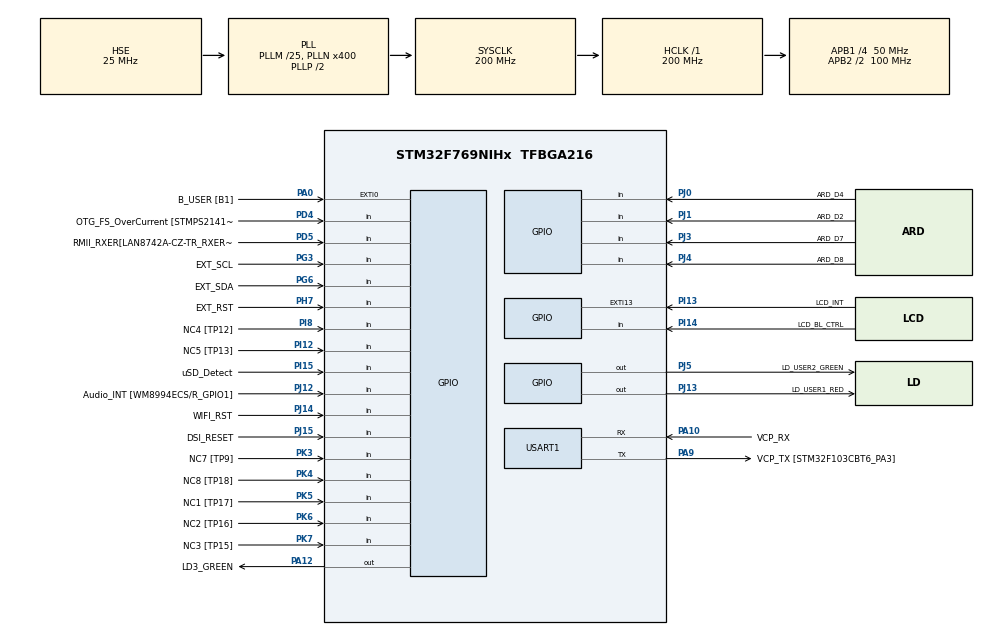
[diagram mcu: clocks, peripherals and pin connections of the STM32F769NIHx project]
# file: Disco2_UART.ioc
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DSIHOST_CKN.GPIO_Label=DSI_CK_N
DSIHOST_CKN.Signal=DSIHOST_CKN
DSIHOST_CKP.GPIO_Label=DSI_CK_P
DSIHOST_CKP.Signal=DSIHOST_CKP
DSIHOST_D0N.GPIO_Label=DSI_D0_N
DSIHOST_D0N.Signal=DSIHOST_D0N
DSIHOST_D0P.GPIO_Label=DSI_D0_p
DSIHOST_D0P.Signal=DSIHOST_D0P
DSIHOST_D1N.GPIO_Label=DSI_D1_N
DSIHOST_D1N.Signal=DSIHOST_D1N
DSIHOST_D1P.GPIO_Label=DSI_D1_P
DSIHOST_D1P.Signal=DSIHOST_D1P
Mcu.Family=STM32F7
Mcu.Name=STM32F769NIHx
Mcu.Package=TFBGA216
NVIC.PriorityGroup=NVIC_PRIORITYGROUP_4
PA0/WKUP.GPIO_Label=B_USER [B1]
PA0/WKUP.Signal=GPXTI0
PA1.GPIO_Label=RMII_REF_CLK [LAN8742A-CZ-TR_REFCLK0]
PA1.Signal=ETH_REF_CLK
PA10.GPIO_Label=VCP_RX 
PA10.GPIO_PuPd=GPIO_NOPULL
PA10.Mode=Asynchronous
PA10.Signal=USART1_RX
PA11.GPIO_Label=SPI2_NSS
PA11.Signal=SPI2_NSS
PA12.GPIO_Label=LD3_GREEN
PA12.Signal=GPIO_Output
PA13.GPIO_Label=SWDIO
PA13.Signal=SYS_JTMS-SWDIO
PA14.GPIO_Label=SWCLK
PA14.Signal=SYS_JTCK-SWCLK
PA15.GPIO_Label=CEC
PA15.Signal=CEC
PA2.GPIO_Label=RMII_MDIO [LAN8742A-CZ-TR_MDIO]
PA2.Signal=ETH_MDIO
PA3.GPIO_Label=ULPI_D0 [USB3320C-EZK_D0]
PA3.Signal=USB_OTG_HS_ULPI_D0
PA4.GPIO_Label=ARD_A1
PA4.Signal=ADCx_IN4
PA5.GPIO_Label=ULPI_CLK [USB3320C-EZK_CLKOUT]
PA5.Signal=USB_OTG_HS_ULPI_CK
PA6.GPIO_Label=ARD_A0
PA6.Signal=ADCx_IN6
PA7.GPIO_Label=RMII_CRS_DV [LAN8742A-CZ-TR_CRS_DV]
PA7.Signal=ETH_CRS_DV
PA8.GPIO_Label=CEC_CLK [TP2]
PA8.Signal=RCC_MCO_1
PA9.GPIO_Label=VCP_TX [STM32F103CBT6_PA3]
PA9.GPIO_Mode=GPIO_MODE_AF_PP
PA9.GPIO_PuPd=GPIO_NOPULL
PA9.GPIO_Speed=GPIO_SPEED_FREQ_LOW
PA9.Mode=Asynchronous
PA9.Signal=USART1_TX
PB0.GPIO_Label=ULPI_D1 [USB3320C-EZK_D1]
PB0.Signal=USB_OTG_HS_ULPI_D1
PB1.GPIO_Label=ULPI_D2 [USB3320C-EZK_D2]
PB1.Signal=USB_OTG_HS_ULPI_D2
PB10.GPIO_Label=ULPI_D3 [USB3320C-EZK_D3]
PB10.Signal=USB_OTG_HS_ULPI_D3
PB11.GPIO_Label=ULPI_D4 [USB3320C-EZK_D4]
PB11.Signal=USB_OTG_HS_ULPI_D4
PB12.GPIO_Label=ULPI_D5 [USB3320C-EZK_D5]
PB12.Signal=USB_OTG_HS_ULPI_D5
PB13.GPIO_Label=ULPI_D6 [USB3320C-EZK_D6]
PB13.Signal=USB_OTG_HS_ULPI_D6
PB14.GPIO_Label=ARDUINO MISO/D12
PB14.GPIO_Mode=GPIO_MODE_AF_PP
PB14.GPIO_PuPd=GPIO_NOPULL
PB14.GPIO_Speed=GPIO_SPEED_FREQ_LOW
PB14.Signal=SPI2_MISO
PB15.GPIO_Label=ARDUINO MOSI/PWM/D11
PB15.GPIO_Mode=GPIO_MODE_AF_PP
PB15.GPIO_PuPd=GPIO_NOPULL
PB15.GPIO_Speed=GPIO_SPEED_FREQ_LOW
PB15.Signal=SPI2_MOSI
PB2.Signal=QUADSPI_CLK
PB3.GPIO_Label=uSD_D2
PB3.Signal=SDMMC2_D2
PB4.GPIO_Label=uSD_D3
PB4.Signal=SDMMC2_D3
PB5.GPIO_Label=ULPI_D7 [USB3320C-EZK_D7]
PB5.Signal=USB_OTG_HS_ULPI_D7
PB6.GPIO_Label=QSPI_NCS [N25Q128A13EF840E_S]
PB6.Signal=QUADSPI_BK1_NCS
PB7.GPIO_Label=AUDIO_SDA [WM8994ECS/R_SDA]
PB7.Signal=I2C4_SDA
PB8.GPIO_Label=ARDUINO SCL/D15
PB8.GPIO_Mode=GPIO_MODE_AF_OD
PB8.GPIO_PuPd=GPIO_NOPULL
PB8.GPIO_Speed=GPIO_SPEED_FREQ_LOW
PB8.Signal=I2C1_SCL
PB9.GPIO_Label=ARDUINO SDA/D14
PB9.GPIO_Mode=GPIO_MODE_AF_OD
PB9.GPIO_PuPd=GPIO_NOPULL
PB9.GPIO_Speed=GPIO_SPEED_FREQ_LOW
PB9.Signal=I2C1_SDA
PC0.GPIO_Label=ULPI_STP [USB3320C-EZK_STP]
PC0.Signal=USB_OTG_HS_ULPI_STP
PC1.GPIO_Label=RMII_MDC [LAN8742A-CZ-TR_MDC]
PC1.Signal=ETH_MDC
PC10.GPIO_Label=QSPI_D1 [MT25QL512ABB1EW9_DQ1]
PC10.Signal=QUADSPI_BK1_IO1
PC11.GPIO_Label=DFSDM_DATIN5 [TP100]
PC11.Signal=S_DATAIN5DFSDM1
PC12.GPIO_Label=WIFI_RX
PC12.Signal=UART5_TX
PC13.Signal=RTC_OUT
PC14/OSC32_IN.GPIO_Label=RCC_OSC32_IN
PC14/OSC32_IN.Signal=RCC_OSC32_IN
PC15/OSC32_OUT.GPIO_Label=RCC_OSC32_OUT
PC15/OSC32_OUT.Signal=RCC_OSC32_OUT
PC2.GPIO_Label=ARD_A2
PC2.Signal=ADCx_IN12
PC3.GPIO_Label=DFSDM_DATIN1 [TP101]
PC3.Signal=S_DATAIN1DFSDM1
PC4.GPIO_Label=RMII_RXD0 [LAN8742A-CZ-TR_RXD0]
PC4.Signal=ETH_RXD0
PC5.GPIO_Label=RMII_RXD1 [LAN8742A-CZ-TR_RXD1]
PC5.Signal=ETH_RXD1
PC6.GPIO_Label=ARDUINO TX/D1
PC6.Signal=USART6_TX
PC7.GPIO_Label=ARD_D0/RX
PC7.Signal=USART6_RX
PC8.GPIO_Label=ARD_D5/PWM
PC8.Signal=S_TIM3_CH3
PC9.GPIO_Label=QSPI_D0 [N25Q128A13EF840E_DQ0]
PC9.Signal=QUADSPI_BK1_IO0
PD0.GPIO_Label=FMC_D2 [MT48LC4M32B2B5-6A_DQ2]
PD0.Signal=FMC_D2_DA2
PD1.GPIO_Label=FMC_D3 [MT48LC4M32B2B5-6A_DQ3]
PD1.Signal=FMC_D3_DA3
PD10.GPIO_Label=FMC_D15 [MT48LC4M32B2B5-6A_DQ15]
PD10.Signal=FMC_D15_DA15
PD11.GPIO_Label=SPDIF_TX [TP20]
PD11.Signal=SAI2_SD_A
PD12.GPIO_Label=AUDIO_SCL [WM8994ECS/R_SCLK]
PD12.Signal=I2C4_SCL
PD13.GPIO_Label=QSPI_D3 [N25Q128A13EF840E_DQ3]
PD13.Signal=QUADSPI_BK1_IO3
PD14.GPIO_Label=FMC_D0 [MT48LC4M32B2B5-6A_DQ0]
PD14.Signal=FMC_D0_DA0
PD15.GPIO_Label=FMC_D1 [MT48LC4M32B2B5-6A_DQ1]
PD15.Signal=FMC_D1_DA1
PD2.GPIO_Label=WIFI_TX
PD2.Signal=UART5_RX
PD3.GPIO_Label=DFSDM_CKOUT [TP102]
PD3.Signal=S_CKOUTDFSDM1
PD4.GPIO_Label=OTG_FS_OverCurrent [STMPS2141STR_Fault]
PD4.Signal=GPIO_Input
PD5.GPIO_Label=RMII_RXER[LAN8742A-CZ-TR_RXERR]
PD5.Signal=GPIO_Input
PD6.GPIO_Label=uSD_CLK
PD6.Signal=SDMMC2_CK
PD7.GPIO_Label=uSD_CMD
PD7.Signal=SDMMC2_CMD
PD8.GPIO_Label=FMC_D13 [MT48LC4M32B2B5-6A_DQ13]
PD8.Signal=FMC_D13_DA13
PD9.GPIO_Label=FMC_D14 [MT48LC4M32B2B5-6A_DQ14]
PD9.Signal=FMC_D14_DA14
PE0.GPIO_Label=FMC_NBL0 [MT48LC4M32B2B5-6A_DQM0]
PE0.Signal=FMC_NBL0
PE1.GPIO_Label=FMC_NBL1 [MT48LC4M32B2B5-6A_DQM1]
PE1.Signal=FMC_NBL1
PE10.GPIO_Label=FMC_D7 [MT48LC4M32B2B5-6A_DQ7]
PE10.Signal=FMC_D7_DA7
PE11.GPIO_Label=FMC_D8 [MT48LC4M32B2B5-6A_DQ8]
PE11.Signal=FMC_D8_DA8
PE12.GPIO_Label=FMC_D9 [MT48LC4M32B2B5-6A_DQ9]
PE12.Signal=FMC_D9_DA9
PE13.GPIO_Label=FMC_D10 [MT48LC4M32B2B5-6A_DQ10]
PE13.Signal=FMC_D10_DA10
PE14.GPIO_Label=FMC_D11 [MT48LC4M32B2B5-6A_DQ11]
PE14.Signal=FMC_D11_DA11
PE15.GPIO_Label=FMC_D12 [MT48LC4M32B2B5-6A_DQ12]
PE15.Signal=FMC_D12_DA12
PE2.GPIO_Label=QSPI_D2 [N25Q128A13EF840E_DQ2]
PE2.Signal=QUADSPI_BK1_IO2
PE3.GPIO_Label=SAI1_SDB [WM8994ECS/R_ADCDAT1]
PE3.Signal=SAI1_SD_B
PE4.GPIO_Label=SAI1_FSA [WM8994ECS/R_LRCLK1]
PE4.Signal=SAI1_FS_A
PE5.GPIO_Label=SAI1_SCKA [WM8994ECS/R_BCLK1]
PE5.Signal=SAI1_SCK_A
PE6.GPIO_Label=SAI1_SDA [WM8994ECS/R_DACDAT1]
PE6.Signal=SAI1_SD_A
PE7.GPIO_Label=FMC_D4 [MT48LC4M32B2B5-6A_DQ4]
PE7.Signal=FMC_D4_DA4
PE8.GPIO_Label=FMC_D5 [MT48LC4M32B2B5-6A_DQ5]
PE8.Signal=FMC_D5_DA5
PE9.GPIO_Label=FMC_D6 [MT48LC4M32B2B5-6A_DQ6]
PE9.Signal=FMC_D6_DA6
PF0.GPIO_Label=FMC_A0 [MT48LC4M32B2B5-6A_A0]
PF0.Signal=FMC_A0
PF1.GPIO_Label=FMC_A1 [MT48LC4M32B2B5-6A_A1]
PF1.Signal=FMC_A1
PF10.GPIO_Label=ARDUINO A1
PF10.GPIO_Mode=GPIO_MODE_ANALOG
PF10.GPIO_PuPd=GPIO_NOPULL
PF10.Signal=ADC3_IN8
PF11.GPIO_Label=FMC_SDNRAS [MT48LC4M32B2B5-6A_RAS]
PF11.Signal=FMC_SDNRAS
PF12.GPIO_Label=FMC_A6 [MT48LC4M32B2B5-6A_A6]
PF12.Signal=FMC_A6
PF13.GPIO_Label=FMC_A7 [MT48LC4M32B2B5-6A_A7]
PF13.Signal=FMC_A7
PF14.GPIO_Label=FMC_A8 [MT48LC4M32B2B5-6A_A8]
PF14.Signal=FMC_A8
PF15.GPIO_Label=FMC_A9 [MT48LC4M32B2B5-6A_A9]
PF15.Signal=FMC_A9
PF2.GPIO_Label=FMC_A2 [MT48LC4M32B2B5-6A_A2]
PF2.Signal=FMC_A2
PF3.GPIO_Label=FMC_A3 [MT48LC4M32B2B5-6A_A3]
PF3.Signal=FMC_A3
PF4.GPIO_Label=FMC_A4 [MT48LC4M32B2B5-6A_A4]
PF4.Signal=FMC_A4
PF5.GPIO_Label=FMC_A5 [MT48LC4M32B2B5-6A_A5]
PF5.Signal=FMC_A5
PF6.GPIO_Label=ARD_D3/PWM
PF6.Signal=S_TIM10_CH1
PF7.GPIO_Label=ARD_D6/PWM
PF7.Signal=S_TIM11_CH1
PF8.GPIO_Label=ARDUINO A3
PF8.GPIO_Mode=GPIO_MODE_ANALOG
PF8.GPIO_PuPd=GPIO_NOPULL
PF8.Signal=ADC3_IN6
PF9.GPIO_Label=ARDUINO A2
PF9.GPIO_Mode=GPIO_MODE_ANALOG
PF9.GPIO_PuPd=GPIO_NOPULL
PF9.Signal=ADC3_IN7
PG0.GPIO_Label=FMC_A10 [MT48LC4M32B2B5-6A_A10]
PG0.Signal=FMC_A10
PG1.GPIO_Label=FMC_A11 [MT48LC4M32B2B5-6A_A11]
PG1.Signal=FMC_A11
PG10.GPIO_Label=uSD_D1
PG10.Signal=SDMMC2_D1
PG11.GPIO_Label=RMII_TX_EN [LAN8742A-CZ-TR_TXEN]
PG11.Signal=ETH_TX_EN
PG12.GPIO_Label=SPDIF_RX [74LVC1G04SE_4]
PG12.Signal=SPDIFRX_IN1
PG13.GPIO_Label=RMII_TXD0 [LAN8742A-CZ-TR_TXD0]
PG13.Signal=ETH_TXD0
PG14.GPIO_Label=RMII_TXD1 [LAN8742A-CZ-TR_TXD1]
PG14.Signal=ETH_TXD1
PG15.GPIO_Label=FMC_SDNCAS [MT48LC4M32B2B5-6A_CAS]
PG15.Signal=FMC_SDNCAS
PG2.GPIO_Label=FMC_A12
PG2.Signal=FMC_A12
PG3.GPIO_Label=EXT_SCL
PG3.Signal=GPIO_Input
PG4.GPIO_Label=FMC_BA0 [MT48LC4M32B2B5-6A_BA0]
PG4.Signal=FMC_A14_BA0
PG5.GPIO_Label=FMC_BA1 [MT48LC4M32B2B5-6A_BA1]
PG5.Signal=FMC_A15_BA1
PG6.GPIO_Label=EXT_SDA
PG6.Signal=GPIO_Input
PG7.GPIO_Label=SAI1_MCLKA [WM8994ECS/R_MCLK1]
PG7.Signal=SAI1_MCLK_A
PG8.GPIO_Label=FMC_SDCLK [MT48LC4M32B2B5-6A_CLK]
PG8.Signal=FMC_SDCLK
PG9.GPIO_Label=uSD_D0
PG9.Signal=SDMMC2_D0
PH0/OSC_IN.GPIO_Label=OSC_25M [NZ2520SB-25.00M_OUT]
PH0/OSC_IN.Mode=HSE-External-Oscillator
PH0/OSC_IN.Signal=RCC_OSC_IN
PH1/OSC_OUT.Mode=HSE-External-Oscillator
PH1/OSC_OUT.Signal=RCC_OSC_OUT
PH10.GPIO_Label=FMC_D18 [MT48LC4M32B2B5-6A_DQ18]
PH10.Signal=FMC_D18
PH11.GPIO_Label=FMC_D19 [MT48LC4M32B2B5-6A_DQ19]
PH11.Signal=FMC_D19
PH12.GPIO_Label=D20
PH12.Signal=FMC_D20
PH13.GPIO_Label=D21
PH13.Signal=FMC_D21
PH14.GPIO_Label=D22
PH14.Signal=FMC_D22
PH15.GPIO_Label=D23
PH15.Signal=FMC_D23
PH2.GPIO_Label=FMC_SDCKE0 [MT48LC4M32B2B5-6A_CKE]
PH2.Signal=FMC_SDCKE0
PH3.GPIO_Label=FMC_SDNE0 [MT48LC4M32B2B5-6A_CS]
PH3.Signal=FMC_SDNE0
PH4.GPIO_Label=ULPI_NXT [USB3320C-EZK_NXT]
PH4.Signal=USB_OTG_HS_ULPI_NXT
PH5.GPIO_Label=FMC_SDNME [MT48LC4M32B2B5-6A_WE]
PH5.Signal=FMC_SDNWE
PH6.GPIO_Label=ARDUINO PWM/D6
PH6.Signal=S_TIM12_CH1
PH7.GPIO_Label=EXT_RST
PH7.Signal=GPIO_Input
PH8.GPIO_Label=FMC_D16 [MT48LC4M32B2B5-6A_DQ16]
PH8.Signal=FMC_D16
PH9.GPIO_Label=FMC_D\!7 [MT48LC4M32B2B5-6A_DQ17]
PH9.Signal=FMC_D17
PI0.GPIO_Label=D24
PI0.Signal=FMC_D24
PI1.GPIO_Label=D25
PI1.Signal=FMC_D25
PI10.GPIO_Label=D31
PI10.Signal=FMC_D31
PI11.GPIO_Label=ULPI_DIR [USB3320C-EZK_DIR]
PI11.Signal=USB_OTG_HS_ULPI_DIR
PI12.GPIO_Label=NC5 [TP13]
PI12.Signal=GPIO_Input
PI13.GPIO_Label=LCD_INT
PI13.GPIO_ModeDefaultEXTI=GPIO_MODE_EVT_RISING
PI13.Signal=GPXTI13
PI14.GPIO_Label=LCD_BL_CTRL
PI14.Signal=GPIO_Input
PI15.GPIO_Label=uSD_Detect
PI15.Signal=GPIO_Input
PI2.GPIO_Label=D26
PI2.Signal=FMC_D26
PI3.GPIO_Label=D27
PI3.Signal=FMC_D27
PI4.GPIO_Label=FMC_NBL2 [MT48LC4M32B2B5-6A_DQM2]
PI4.Signal=FMC_NBL2
PI5.GPIO_Label=FMC_NBL3 [MT48LC4M32B2B5-6A_DQM3]
PI5.Signal=FMC_NBL3
PI6.GPIO_Label=D28
PI6.Signal=FMC_D28
PI7.GPIO_Label=D29
PI7.Signal=FMC_D29
PI8.GPIO_Label=NC4 [TP12]
PI8.Signal=GPIO_Input
PI9.GPIO_Label=D30
PI9.Signal=FMC_D30
PJ0.GPIO_Label=ARD_D4
PJ0.Signal=GPIO_Input
PJ1.GPIO_Label=ARD_D2
PJ1.Signal=GPIO_Input
PJ12.GPIO_Label=Audio_INT [WM8994ECS/R_GPIO1]
PJ12.Signal=GPIO_Input
PJ13.GPIO_Label=LD_USER1_RED
PJ13.Signal=GPIO_Output
PJ14.GPIO_Label=WIFI_RST
PJ14.Signal=GPIO_Input
PJ15.GPIO_Label=DSI_RESET
PJ15.Signal=GPIO_Input
PJ2.GPIO_Label=DSIHOST_TE
PJ2.Signal=DSIHOST_TE
PJ3.GPIO_Label=ARD_D7
PJ3.Signal=GPIO_Input
PJ4.GPIO_Label=ARD_D8
PJ4.Signal=GPIO_Input
PJ5.GPIO_Label=LD_USER2_GREEN
PJ5.Signal=GPIO_Output
PK3.GPIO_Label=NC7 [TP9]
PK3.Signal=GPIO_Input
PK4.GPIO_Label=NC8 [TP18]
PK4.Signal=GPIO_Input
PK5.GPIO_Label=NC1 [TP17]
PK5.Signal=GPIO_Input
PK6.GPIO_Label=NC2 [TP16]
PK6.Signal=GPIO_Input
PK7.GPIO_Label=NC3 [TP15]
PK7.Signal=GPIO_Input
ProjectManager.HeapSize=0x200
ProjectManager.StackSize=0x400
ProjectManager.TargetToolchain=STM32CubeIDE
RCC.AHBFreq_Value=200000000
RCC.APB1CLKDivider=RCC_HCLK_DIV4
RCC.APB1Freq_Value=50000000
RCC.APB1TimFreq_Value=100000000
RCC.APB2CLKDivider=RCC_HCLK_DIV2
RCC.APB2Freq_Value=100000000
RCC.APB2TimFreq_Value=200000000
RCC.CortexFreq_Value=200000000
RCC.HCLKFreq_Value=200000000
RCC.HSE_VALUE=25000000
RCC.HSI_VALUE=16000000
RCC.LSE_VALUE=32768
RCC.PLLM=25
RCC.PLLN=400
RCC.PLLQ=4
RCC.PLLSAIQ=3
RCC.PLLSourceVirtual=RCC_PLLSOURCE_HSE
RCC.SYSCLKFreq_VALUE=200000000
RCC.SYSCLKSource=RCC_SYSCLKSOURCE_PLLCLK
RCC.USBFreq_Value=100000000
RCC.VCOOutputFreq_Value=400000000
SH.ADCx_IN12.0=ADC1_IN12
SH.ADCx_IN4.0=ADC1_IN4
SH.ADCx_IN6.0=ADC1_IN6
SH.FMC_A0.0=FMC_A0
SH.FMC_A1.0=FMC_A1
SH.FMC_A10.0=FMC_A10
SH.FMC_A11.0=FMC_A11
SH.FMC_A12.0=FMC_A12
SH.FMC_A14_BA0.0=FMC_BA0
SH.FMC_A15_BA1.0=FMC_BA1
SH.FMC_A2.0=FMC_A2
SH.FMC_A3.0=FMC_A3
SH.FMC_A4.0=FMC_A4
SH.FMC_A5.0=FMC_A5
SH.FMC_A6.0=FMC_A6
SH.FMC_A7.0=FMC_A7
SH.FMC_A8.0=FMC_A8
SH.FMC_A9.0=FMC_A9
SH.FMC_D0_DA0.0=FMC_D0
SH.FMC_D10_DA10.0=FMC_D10
SH.FMC_D11_DA11.0=FMC_D11
SH.FMC_D12_DA12.0=FMC_D12
SH.FMC_D13_DA13.0=FMC_D13
SH.FMC_D14_DA14.0=FMC_D14
SH.FMC_D15_DA15.0=FMC_D15
SH.FMC_D16.0=FMC_D16
SH.FMC_D17.0=FMC_D17
SH.FMC_D18.0=FMC_D18
SH.FMC_D19.0=FMC_D19
SH.FMC_D1_DA1.0=FMC_D1
SH.FMC_D20.0=FMC_D20
SH.FMC_D21.0=FMC_D21
SH.FMC_D22.0=FMC_D22
SH.FMC_D23.0=FMC_D23
SH.FMC_D24.0=FMC_D24
SH.FMC_D25.0=FMC_D25
SH.FMC_D26.0=FMC_D26
SH.FMC_D27.0=FMC_D27
SH.FMC_D28.0=FMC_D28
SH.FMC_D29.0=FMC_D29
SH.FMC_D2_DA2.0=FMC_D2
SH.FMC_D30.0=FMC_D30
SH.FMC_D31.0=FMC_D31
SH.FMC_D3_DA3.0=FMC_D3
SH.FMC_D4_DA4.0=FMC_D4
SH.FMC_D5_DA5.0=FMC_D5
SH.FMC_D6_DA6.0=FMC_D6
SH.FMC_D7_DA7.0=FMC_D7
SH.FMC_D8_DA8.0=FMC_D8
SH.FMC_D9_DA9.0=FMC_D9
SH.FMC_NBL0.0=FMC_NBL0
SH.FMC_NBL1.0=FMC_NBL1
SH.FMC_NBL2.0=FMC_NBL2
SH.FMC_NBL3.0=FMC_NBL3
SH.FMC_SDCLK.0=FMC_SDCLK
SH.FMC_SDNCAS.0=FMC_SDNCAS
SH.FMC_SDNRAS.0=FMC_SDNRAS
SH.FMC_SDNWE.0=FMC_SDNWE
SH.S_CKOUTDFSDM1.0=DFSDM1_CKOUT
SH.S_DATAIN1DFSDM1.0=DFSDM1_DATIN1
SH.S_DATAIN5DFSDM1.0=DFSDM1_DATIN5
SH.S_TIM10_CH1.0=TIM10_CH1
SH.S_TIM11_CH1.0=TIM11_CH1
SH.S_TIM12_CH1.0=TIM12_CH1
SH.S_TIM3_CH3.0=TIM3_CH3
USART1.DMADisableonRxErrorParam=ADVFEATURE_DMA_DISABLEONRXERROR
USART1.OverrunDisableParam=ADVFEATURE_OVERRUN_DISABLE
USART1.VirtualMode-Asynchronous=VM_ASYNC
board=STM32F769I-DISCO

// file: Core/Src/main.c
/* USER CODE BEGIN Header */
/**
  ******************************************************************************
  * @file           : main.c
  * @brief          : Main program body
  ******************************************************************************
  * @attention
  *
  * Copyright (c) 2023 STMicroelectronics.
  * All rights reserved.
  *
  * This software is licensed under terms that can be found in the LICENSE file
  * in the root directory of this software component.
  * If no LICENSE file comes with this software, it is provided AS-IS.
  *
  ******************************************************************************
  */
/* USER CODE END Header */
#include "main.h"
#include "usart.h"
#include "gpio.h"

/* USER CODE BEGIN Includes */
#include <stdio.h> // printf(3) redirected to UART1, ST-Link Virtual COM port
#include <inttypes.h> // printf(3) format macros for stdtypes.h, for example PRIu32 to print uint32_t
#include <stdbool.h> // bool type and true/false
/* USER CODE END Includes */

/* USER CODE BEGIN PD */
#define APP_VERSION 100 // 123=1.23
/* USER CODE END PD */

/* USER CODE BEGIN PV */
// true if it is possible to write to UART
bool gUartStarted=false;
/* USER CODE END PV */

void SystemClock_Config(void);
/* USER CODE BEGIN PFP */
// Redirecting printf(3) to UART1 that is connected to ST-Link Virtual COM port
// from: STM32Cube_FW_F7_V1.17.0\Projects\STM32F767ZI-Nucleo\Examples\UART\UART_Printf\Src\main.c
#ifdef __GNUC__
/* With GCC, small printf (option LD Linker->Libraries->Small printf
   set to 'Yes') calls __io_putchar() */
#define PUTCHAR_PROTOTYPE int __io_putchar(int ch)
#else
#define PUTCHAR_PROTOTYPE int fputc(int ch, FILE *f)
#endif /* __GNUC__ */
/* USER CODE END PFP */

int main(void)
{
  /* USER CODE BEGIN 1 */
  unsigned loopCount = 0;
  /* USER CODE END 1 */

  /* MCU Configuration--------------------------------------------------------*/

  /* Reset of all peripherals, Initializes the Flash interface and the Systick. */
  HAL_Init();

  /* Configure the system clock */
  SystemClock_Config();

  /* Initialize all configured peripherals */
  MX_GPIO_Init();
  MX_USART1_UART_Init();
  /* USER CODE BEGIN 2 */
  gUartStarted=true; // tell Error_Handler() that it can dump error on UART
  // enable LD3 Green on PA12
  HAL_GPIO_WritePin(LD3_GREEN_GPIO_Port, LD3_GREEN_Pin, GPIO_PIN_RESET);
  printf("L%d: App init v%d.%02d\r\n", __LINE__,APP_VERSION/100,APP_VERSION%100);
  /* USER CODE END 2 */

  /* Infinite loop */
  /* USER CODE BEGIN WHILE */
  while (1)
  {
	// try to not overflow UART output - once per second is enough.
	if (loopCount%10 == 0){
		printf("L%d: #%u HAL_Ticks=%" PRIu32 "\r\n",
				 __LINE__,loopCount,HAL_GetTick());
	}
	++loopCount;

	if (HAL_GPIO_ReadPin(B_USER_GPIO_Port, B_USER_Pin)== GPIO_PIN_SET){
		// when blue user button is pressed - blink LD3 LED
		HAL_GPIO_TogglePin(LD3_GREEN_GPIO_Port, LD3_GREEN_Pin);
		HAL_GPIO_WritePin(LD_USER2_GREEN_GPIO_Port, LD_USER2_GREEN_Pin, GPIO_PIN_RESET);
		// uncomment this if you want to test Fatal error handler on Button Push: Error_Handler();
	} else {
		// default - blink LD1 LED
		HAL_GPIO_TogglePin(LD_USER2_GREEN_GPIO_Port, LD_USER2_GREEN_Pin);
		HAL_GPIO_WritePin(LD3_GREEN_GPIO_Port, LD3_GREEN_Pin, GPIO_PIN_RESET);
	}
    HAL_Delay(100); // wait 0.1s
    /* USER CODE END WHILE */

  }
}

void SystemClock_Config(void)
{
  RCC_OscInitTypeDef RCC_OscInitStruct = {0};
  RCC_ClkInitTypeDef RCC_ClkInitStruct = {0};

  /** Configure the main internal regulator output voltage
  */
  __HAL_RCC_PWR_CLK_ENABLE();
  __HAL_PWR_VOLTAGESCALING_CONFIG(PWR_REGULATOR_VOLTAGE_SCALE1);

  /** Initializes the RCC Oscillators according to the specified parameters
  * in the RCC_OscInitTypeDef structure.
  */
  RCC_OscInitStruct.OscillatorType = RCC_OSCILLATORTYPE_HSE;
  RCC_OscInitStruct.HSEState = RCC_HSE_ON;
  RCC_OscInitStruct.PLL.PLLState = RCC_PLL_ON;
  RCC_OscInitStruct.PLL.PLLSource = RCC_PLLSOURCE_HSE;
  RCC_OscInitStruct.PLL.PLLM = 25;
  RCC_OscInitStruct.PLL.PLLN = 400;
  RCC_OscInitStruct.PLL.PLLP = RCC_PLLP_DIV2;
  RCC_OscInitStruct.PLL.PLLQ = 4;
  RCC_OscInitStruct.PLL.PLLR = 2;
  if (HAL_RCC_OscConfig(&RCC_OscInitStruct) != HAL_OK)
  {
    Error_Handler();
  }

  /** Activate the Over-Drive mode
  */
  if (HAL_PWREx_EnableOverDrive() != HAL_OK)
  {
    Error_Handler();
  }

  /** Initializes the CPU, AHB and APB buses clocks
  */
  RCC_ClkInitStruct.ClockType = RCC_CLOCKTYPE_HCLK|RCC_CLOCKTYPE_SYSCLK
                              |RCC_CLOCKTYPE_PCLK1|RCC_CLOCKTYPE_PCLK2;
  RCC_ClkInitStruct.SYSCLKSource = RCC_SYSCLKSOURCE_PLLCLK;
  RCC_ClkInitStruct.AHBCLKDivider = RCC_SYSCLK_DIV1;
  RCC_ClkInitStruct.APB1CLKDivider = RCC_HCLK_DIV4;
  RCC_ClkInitStruct.APB2CLKDivider = RCC_HCLK_DIV2;

  if (HAL_RCC_ClockConfig(&RCC_ClkInitStruct, FLASH_LATENCY_6) != HAL_OK)
  {
    Error_Handler();
  }
}

/* USER CODE BEGIN 4 */
// Redirecting printf(3) to UART1 that is connected to ST-Link Virtual COM port
// from: STM32Cube_FW_F7_V1.17.0\Projects\STM32F767ZI-Nucleo\Examples\UART\UART_Printf\Src\main.c
/**
  * @brief  Retargets the C library printf function to the USART.
  * @param  None
  * @retval None
  */
PUTCHAR_PROTOTYPE
{
  /* Place your implementation of fputc here */
  /* e.g. write a character to the USART3 and Loop until the end of transmission */
  HAL_UART_Transmit(&huart1, (uint8_t *)&ch, 1, 0xFFFF);
  return ch;
}
/* USER CODE END 4 */

void Error_Handler(void)
{
  /* USER CODE BEGIN Error_Handler_Debug */
  /* User can add his own implementation to report the HAL error return state */
  __disable_irq();
  // from: STM32Cube_FW_F7_V1.17.1\Projects\STM32F769I-Discovery\Examples\BSP\Src\main.c
  /* Turn RED LED ON */
  HAL_GPIO_WritePin(LD_USER1_RED_GPIO_Port, LD_USER1_RED_Pin, GPIO_PIN_SET);
  /* Turn GREEN LEDs OFF */
  HAL_GPIO_WritePin(LD_USER2_GREEN_GPIO_Port, LD_USER2_GREEN_Pin, GPIO_PIN_RESET);
  HAL_GPIO_WritePin(LD3_GREEN_GPIO_Port, LD3_GREEN_Pin, GPIO_PIN_RESET);
  if(gUartStarted){
	  printf("L%d: %s() FATAL ERROR: Program halted.\r\n",__LINE__,__func__);
  }
  while (1)
  {
  }
  /* USER CODE END Error_Handler_Debug */
}
